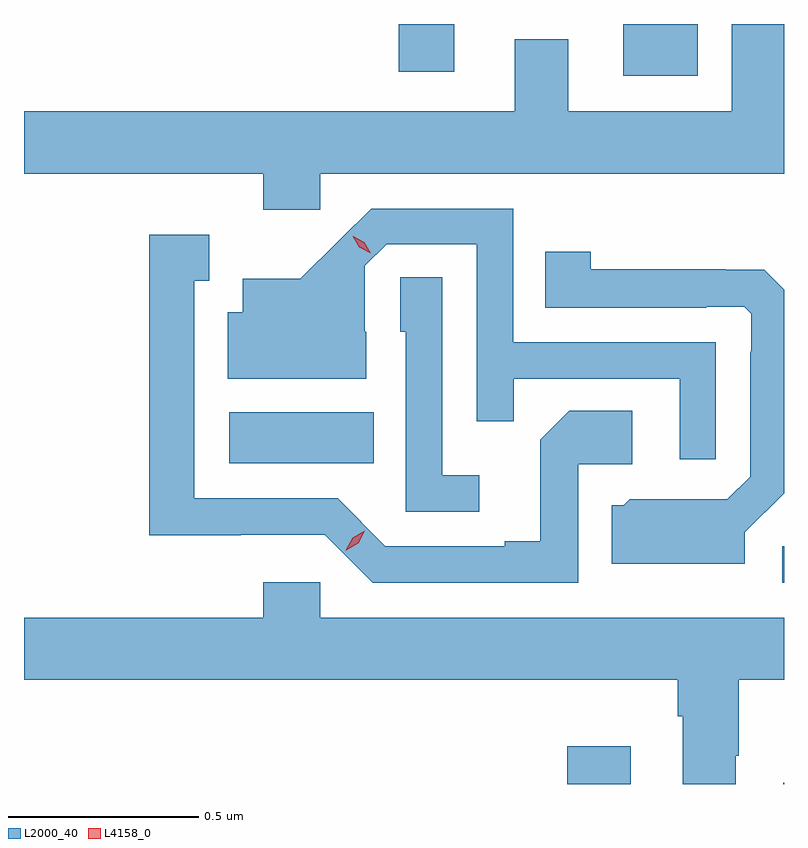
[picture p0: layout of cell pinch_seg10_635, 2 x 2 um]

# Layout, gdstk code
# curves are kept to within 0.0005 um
import gdstk
lib = gdstk.Library(unit=1e-6, precision=1e-09)
def R(c, l, rs):  # rectangles x0, y0, x1, y1
    for r in rs: c.add(gdstk.rectangle(r[:2], r[2:], *l))
def P(c, l, *ps):  # polygons
    for p in ps: c.add(gdstk.Polygon(p, *l))
L2000_40 = (2000, 40)
L4158_0 = (4158, 0)

pinch_seg10_635 = lib.new_cell('pinch_seg10_635')
R(pinch_seg10_635, L2000_40, [(351.608,1280.062,351.775,1280.161), (352.176,1280.062,352.178,1280.065), (352.173,1280.592,352.178,1280.688), (350.718,1280.906,351.098,1281.04), (351.755,1281.926,351.951,1282.062), (351.164,1281.936,351.31,1282.062)])
P(pinch_seg10_635, L2000_40, [(350.958,1281.668),(352.178,1281.668),(352.178,1282.062),(352.04,1282.062),(352.04,1281.832),(351.61,1281.832),(351.61,1282.022),(351.47,1282.022),(351.47,1281.832),(350.178,1281.832),(350.178,1281.668),(350.807,1281.668),(350.807,1281.573),(350.958,1281.573)],
  [(351.999,1281.225),(351.465,1281.225),(351.465,1281.576),(351.092,1281.576),(350.905,1281.391),(350.753,1281.391),(350.753,1281.304),(350.714,1281.304),(350.714,1281.128),(351.079,1281.128),(351.079,1281.252),(351.075,1281.252),(351.075,1281.426),(351.132,1281.483),(351.369,1281.483),(351.369,1281.016),(351.467,1281.016),(351.467,1281.129),(351.903,1281.129),(351.903,1280.916),(351.999,1280.916)],
  [(351.636,1280.904),(351.778,1280.904),(351.778,1281.044),(351.613,1281.044),(351.537,1280.968),(351.537,1280.701),(351.443,1280.701),(351.443,1280.688),(351.129,1280.688),(351.003,1280.814),(350.626,1280.814),(350.626,1281.387),(350.665,1281.387),(350.665,1281.508),(350.508,1281.508),(350.508,1280.717),(350.748,1280.717),(350.748,1280.718),(350.97,1280.718),(351.096,1280.592),(351.636,1280.592)],
  [(352.075,1280.724),(352.178,1280.827),(352.178,1281.363),(352.126,1281.415),(352.025,1281.415),(352.025,1281.416),(351.669,1281.416),(351.669,1281.463),(351.55,1281.463),(351.55,1281.315),(351.974,1281.315),(351.974,1281.318),(352.074,1281.318),(352.092,1281.3),(352.092,1281.2),(352.089,1281.2),(352.089,1280.871),(352.029,1280.811),(351.906,1280.811),(351.906,1280.812),(351.772,1280.812),(351.756,1280.796),(351.725,1280.796),(351.725,1280.642),(352.075,1280.642)],
  [(351.376,1280.875),(351.279,1280.875),(351.279,1281.395),(351.168,1281.395),(351.168,1281.252),(351.183,1281.252),(351.183,1280.778),(351.376,1280.778)],
  [(352.051,1280.137),(352.059,1280.137),(352.059,1280.336),(352.178,1280.336),(352.178,1280.5),(350.958,1280.5),(350.958,1280.593),(350.807,1280.593),(350.807,1280.5),(350.178,1280.5),(350.178,1280.336),(351.899,1280.336),(351.899,1280.24),(351.911,1280.24),(351.911,1280.062),(352.051,1280.062)])
P(pinch_seg10_635, L4158_0, [(351.091,1281.459),(351.06,1281.474),(351.043,1281.504),(351.043,1281.504),(351.044,1281.504),(351.074,1281.488),(351.091,1281.459),(351.091,1281.459)],
  [(351.025,1280.677),(351.025,1280.677),(351.043,1280.71),(351.075,1280.729),(351.075,1280.729),(351.075,1280.728),(351.057,1280.696),(351.026,1280.677)])

lib.write_gds('pinch_seg10_635.gds')
